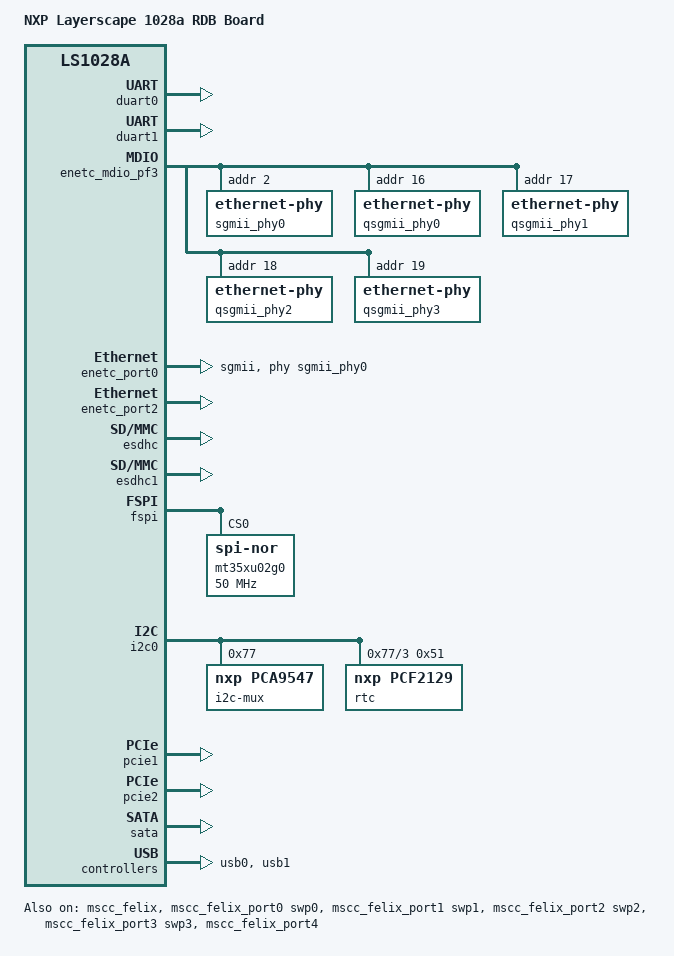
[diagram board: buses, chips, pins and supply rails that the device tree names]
// SPDX-License-Identifier: GPL-2.0+ OR X11
/*
 * NXP ls1028ARDB device tree source
 *
 * Copyright 2019 NXP
 *
 */

/dts-v1/;

#include "fsl-ls1028a.dtsi"

/ {
	model = "NXP Layerscape 1028a RDB Board";
	compatible = "fsl,ls1028a-rdb", "fsl,ls1028a";
	aliases {
		spi0 = &fspi;
		ethernet0 = &enetc_port0;
		ethernet1 = &enetc_port2;
		ethernet2 = &mscc_felix_port0;
		ethernet3 = &mscc_felix_port1;
		ethernet4 = &mscc_felix_port2;
		ethernet5 = &mscc_felix_port3;
	};
};

&duart0 {
	status = "okay";
};

&duart1 {
	status = "okay";
};

&enetc_mdio_pf3 {
	sgmii_phy0: ethernet-phy@2 {
		reg = <0x2>;
	};

	/* VSC8514 QSGMII quad PHY */
	qsgmii_phy0: ethernet-phy@10 {
		reg = <0x10>;
	};

	qsgmii_phy1: ethernet-phy@11 {
		reg = <0x11>;
	};

	qsgmii_phy2: ethernet-phy@12 {
		reg = <0x12>;
	};

	qsgmii_phy3: ethernet-phy@13 {
		reg = <0x13>;
	};
};

&enetc_port0 {
	phy-handle = <&sgmii_phy0>;
	phy-mode = "sgmii";
	managed = "in-band-status";
	status = "okay";
};

&enetc_port2 {
	status = "okay";
};

&esdhc {
	status = "okay";
};

&esdhc1 {
	status = "okay";
	mmc-hs200-1_8v;
};

&fspi {
	status = "okay";

	mt35xu02g0: flash@0 {
		#address-cells = <1>;
		#size-cells = <1>;
		compatible = "jedec,spi-nor";
		spi-max-frequency = <50000000>;
		reg = <0>;
		spi-rx-bus-width = <8>;
		spi-tx-bus-width = <1>;
	};
};

&i2c0 {
	status = "okay";

	 i2c-mux@77 {

		compatible = "nxp,pca9547";
		reg = <0x77>;
		#address-cells = <1>;
		#size-cells = <0>;

		i2c@3 {
			#address-cells = <1>;
			#size-cells = <0>;
			reg = <0x3>;

			rtc@51 {
				compatible = "nxp,pcf2129";
				reg = <0x51>;
			};
		};
	};
};

&mscc_felix {
	status = "okay";
};

&mscc_felix_port0 {
	label = "swp0";
	managed = "in-band-status";
	phy-handle = <&qsgmii_phy0>;
	phy-mode = "qsgmii";
	status = "okay";
};

&mscc_felix_port1 {
	label = "swp1";
	managed = "in-band-status";
	phy-handle = <&qsgmii_phy1>;
	phy-mode = "qsgmii";
	status = "okay";
};

&mscc_felix_port2 {
	label = "swp2";
	managed = "in-band-status";
	phy-handle = <&qsgmii_phy2>;
	phy-mode = "qsgmii";
	status = "okay";
};

&mscc_felix_port3 {
	label = "swp3";
	managed = "in-band-status";
	phy-handle = <&qsgmii_phy3>;
	phy-mode = "qsgmii";
	status = "okay";
};

&mscc_felix_port4 {
	ethernet = <&enetc_port2>;
	status = "okay";
};

&pcie1 {
	status = "okay";
};

&pcie2 {
	status = "okay";
};

&sata {
	status = "okay";
};

&usb0 {
	status = "okay";
};

&usb1 {
	status = "okay";
};
